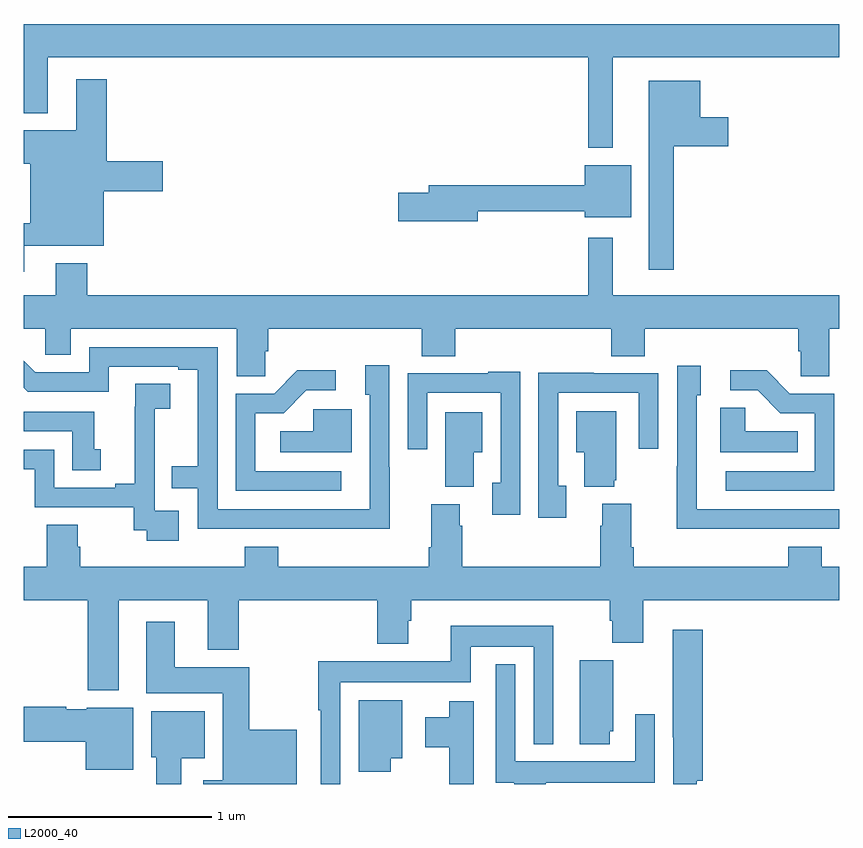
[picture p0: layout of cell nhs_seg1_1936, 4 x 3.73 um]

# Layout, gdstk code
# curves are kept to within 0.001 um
import gdstk
lib = gdstk.Library(unit=1e-6, precision=1e-09)
def P(c, l, *ps):  # polygons
    for p in ps: c.add(gdstk.Polygon(p, *l))
L2000_40 = (2000, 40)

nhs_seg1_1936 = lib.new_cell('nhs_seg1_1936')
P(nhs_seg1_1936, L2000_40, [(219.889,519.764),(221,519.764),(221,519.928),(217,519.928),(217,519.491),(217.117,519.491),(217.117,519.764),(219.768,519.764),(219.768,519.32),(219.889,519.32)],
  [(217.003,518.84),(217.393,518.84),(217.393,519.107),(217.681,519.107),(217.681,519.254),(217.406,519.254),(217.406,519.658),(217.256,519.658),(217.256,519.406),(217,519.406),(217,519.242),(217.031,519.242),(217.031,518.95),(217,518.95),(217,518.712),(217.003,518.712)],
  [(220.189,519.329),(220.456,519.329),(220.456,519.471),(220.318,519.471),(220.318,519.649),(220.067,519.649),(220.067,518.721),(220.189,518.721)],
  [(219.226,519.009),(219.752,519.009),(219.752,518.981),(219.979,518.981),(219.979,519.235),(219.752,519.235),(219.752,519.137),(218.987,519.137),(218.987,519.101),(218.838,519.101),(218.838,518.959),(219.226,518.959)],
  [(218.184,518.323),(218.198,518.323),(218.198,518.432),(218.951,518.432),(218.951,518.299),(219.116,518.299),(219.116,518.432),(219.881,518.432),(219.881,518.299),(220.046,518.299),(220.046,518.432),(220.799,518.432),(220.799,518.323),(220.812,518.323),(220.812,518.2),(220.951,518.2),(220.951,518.432),(221,518.432),(221,518.596),(219.889,518.596),(219.889,518.878),(219.768,518.878),(219.768,518.596),(217.31,518.596),(217.31,518.755),(217.157,518.755),(217.157,518.596),(217,518.596),(217,518.432),(217.104,518.432),(217.104,518.305),(217.231,518.305),(217.231,518.432),(218.045,518.432),(218.045,518.2),(218.184,518.2)],
  [(218.795,517.754),(218.793,517.754),(218.793,518.254),(218.675,518.254),(218.675,518.109),(218.697,518.109),(218.697,517.548),(217.95,517.548),(217.95,518.343),(217.32,518.343),(217.32,518.22),(217.056,518.22),(217,518.276),(217,518.144),(217.02,518.124),(217.416,518.124),(217.416,518.247),(217.757,518.247),(217.757,518.232),(217.853,518.232),(217.853,517.759),(217.726,517.759),(217.726,517.65),(217.854,517.65),(217.854,517.452),(218.795,517.451)],
  [(220.667,517.452),(221,517.452),(221,517.548),(220.302,517.548),(220.302,518.106),(220.321,518.106),(220.321,518.251),(220.206,518.251),(220.206,517.757),(220.204,517.757),(220.204,517.451),(220.667,517.451)],
  [(220.977,518.115),(220.758,518.115),(220.645,518.228),(220.467,518.228),(220.467,518.13),(220.601,518.13),(220.712,518.019),(220.881,518.019),(220.881,517.734),(220.443,517.734),(220.443,517.638),(220.977,517.638)],
  [(218.557,517.734),(218.136,517.734),(218.136,518.019),(218.274,518.019),(218.385,518.13),(218.53,518.13),(218.53,518.228),(218.342,518.228),(218.229,518.115),(218.04,518.115),(218.04,517.638),(218.557,517.638)],
  [(219.435,518.221),(219.279,518.221),(219.279,518.214),(218.883,518.214),(218.883,517.842),(218.979,517.842),(218.979,518.118),(219.339,518.118),(219.339,517.677),(219.299,517.677),(219.299,517.52),(219.435,517.52)],
  [(219.661,517.662),(219.621,517.662),(219.621,518.118),(220.017,518.118),(220.017,517.845),(220.113,517.845),(220.113,518.214),(219.797,518.214),(219.797,518.216),(219.525,518.216),(219.525,517.506),(219.661,517.506)],
  [(217.759,517.539),(217.641,517.539),(217.641,517.843),(217.643,517.843),(217.643,518.041),(217.717,518.041),(217.717,518.162),(217.546,518.162),(217.546,518.051),(217.544,518.051),(217.544,517.673),(217.448,517.673),(217.448,517.653),(217.149,517.653),(217.149,517.839),(217,517.839),(217,517.743),(217.053,517.743),(217.053,517.557),(217.54,517.557),(217.54,517.443),(217.603,517.443),(217.603,517.392),(217.759,517.392)],
  [(220.796,517.93),(220.539,517.93),(220.539,518.045),(220.418,518.045),(220.418,517.826),(220.796,517.826)],
  [(218.608,518.037),(218.421,518.037),(218.421,517.93),(218.259,517.93),(218.259,517.826),(218.608,517.826)],
  [(219.896,517.689),(219.907,517.689),(219.907,518.029),(219.71,518.029),(219.71,517.826),(219.749,517.826),(219.749,517.658),(219.896,517.658)],
  [(217.378,517.842),(217.345,517.842),(217.345,518.025),(217,518.025),(217,517.929),(217.238,517.929),(217.238,517.738),(217.378,517.738)],
  [(219.208,517.826),(219.25,517.826),(219.25,518.023),(219.068,518.023),(219.068,517.657),(219.208,517.657)],
  [(217.465,517.1),(217.901,517.1),(217.901,516.857),(218.054,516.857),(218.054,517.1),(218.735,517.1),(218.735,516.887),(218.887,516.887),(218.887,516.999),(218.9,516.999),(218.9,517.1),(219.875,517.1),(219.875,517.001),(219.887,517.001),(219.887,516.892),(220.04,516.892),(220.04,517.1),(221,517.1),(221,517.264),(220.916,517.264),(220.916,517.363),(220.751,517.363),(220.751,517.264),(219.992,517.264),(219.992,517.36),(219.979,517.36),(219.979,517.573),(219.839,517.573),(219.839,517.466),(219.827,517.466),(219.827,517.264),(219.152,517.264),(219.152,517.466),(219.139,517.466),(219.139,517.572),(218.999,517.572),(218.999,517.36),(218.987,517.36),(218.987,517.264),(218.249,517.264),(218.249,517.363),(218.084,517.363),(218.084,517.264),(217.277,517.264),(217.277,517.362),(217.264,517.362),(217.264,517.472),(217.112,517.472),(217.112,517.264),(217,517.264),(217,517.1),(217.313,517.1),(217.313,516.659),(217.465,516.659)],
  [(218.338,516.466),(218.106,516.466),(218.106,516.772),(217.741,516.772),(217.741,516.996),(217.601,516.996),(217.601,516.644),(217.976,516.644),(217.976,516.217),(217.881,516.217),(217.881,516.199),(218.338,516.199)],
  [(218.553,516.698),(219.192,516.698),(219.192,516.872),(219.501,516.872),(219.501,516.395),(219.598,516.395),(219.598,516.976),(219.095,516.976),(219.095,516.802),(218.445,516.802),(218.445,516.562),(218.457,516.562),(218.457,516.199),(218.553,516.199)],
  [(220.301,516.215),(220.331,516.215),(220.331,516.955),(220.184,516.955),(220.184,516.428),(220.185,516.428),(220.185,516.199),(220.301,516.199)],
  [(219.874,516.459),(219.892,516.459),(219.892,516.807),(219.728,516.807),(219.728,516.395),(219.874,516.395)],
  [(219.56,516.204),(219.791,516.204),(219.791,516.206),(220.095,516.206),(220.095,516.541),(219.999,516.541),(219.999,516.31),(219.411,516.31),(219.411,516.787),(219.315,516.787),(219.315,516.204),(219.407,516.204),(219.407,516.199),(219.56,516.199)],
  [(218.8,516.326),(218.857,516.326),(218.857,516.61),(218.642,516.61),(218.642,516.258),(218.8,516.258)],
  [(219.208,516.604),(219.086,516.604),(219.086,516.526),(218.969,516.526),(218.969,516.379),(219.086,516.379),(219.086,516.199),(219.208,516.199)],
  [(217.537,516.574),(217.308,516.574),(217.308,516.565),(217.208,516.565),(217.208,516.578),(217,516.578),(217,516.406),(217.304,516.406),(217.304,516.269),(217.537,516.269)],
  [(217.771,516.326),(217.888,516.326),(217.888,516.556),(217.625,516.556),(217.625,516.33),(217.649,516.33),(217.649,516.199),(217.771,516.199)])

lib.write_gds('nhs_seg1_1936.gds')
